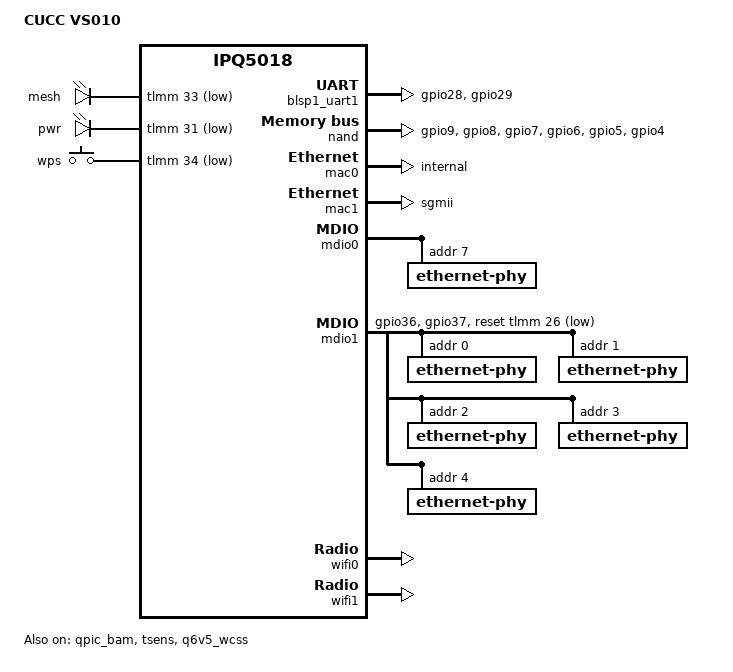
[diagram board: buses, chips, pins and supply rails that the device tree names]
// SPDX-License-Identifier: (GPL-2.0+)
//
// 第 23 次：VS010 源码编译线 DTS —— 按【本仓库实机资料】修正板级参数
//   · 骨架：kkstone/immortalwrt-ipq50xx @ openwrt-21.02 的 ipq5000-rax3000q.dts
//   · GPIO / LED / pinctrl / bootargs / 分区：来自仓库
//     3000Q-VS010-固件/DTS/vs010.dtb（运行态 FDT 反编译，311 节点）
//     与 3000Q-VS010-固件/VS010文件.txt（实机 SSH 日志，GBK）
//   · 无线 BDF：r22 已补 board-cucc_vs010.*，见 reference/无线修复取证.md
//
// 【r23 改了什么 / 为什么】
//   r22 沿用 3000Q 的 GPIO：reset=23 / wps=38 / LED 24,19,17 —— 全是别的板子。
//   实机 FDT 只有【一个】wps 键 GPIO34，两颗 LED：mesh GPIO33 / pwr GPIO31。
//   恩山互刷变砖案例正是「复位键 GPIO 不一致」。这里按实机值改回。
//   bootargs-append 也按实机 /proc/cmdline 补回 "ubi.mtd=rootfs swiotlb=1"。
//
// 【分区：这台机器已刷三方 U-Boot + 大分区 MIBIB】
//   实机日志 cat /proc/mtd：mtd15 rootfs = 0x06e00000 (110 MiB)
//   vs010.dtb 分区表：rootfs @0x00900000 size 0x06e00000 —— 两者完全一致。
//   注意：核查报告第四章的「原厂 24 分区表」(rootfs_1/rootfs 各 0x2840000)
//   是【原厂】布局，不是这台机器的。分区由 U-Boot 经 qcom,smem-part 填充，
//   DTS 里不要写死 24 分区偏移。
//
// 【switch：默认不动，另有可选 OEM 档】
//   实机 switch_cpu_bmp=0x40 / lan=0x1e / wan=0x00、8 对 ar8327-initvals、
//   4 个 port_phyinfo；3000Q 是 0x48/0x34/0x02、4 对、6 个 port。
//   用户实机反馈「网卡什么都能起来」→ 当前 3000Q 档有线可用，改私有寄存器
//   有让网口全灭的风险。故默认保留，另给 tools/apply-vs010-switch-oem.py
//   + workflow 输入 vs010_switch_oem=true 一键切到实机档（需实机核对 WAN/LAN）。
//
/dts-v1/;

#include "ipq5018.dtsi"

/ {
	model = "CUCC VS010";
	compatible = "cucc,vs010", "qcom,ipq5018";

	#address-cells = <2>;
	#size-cells = <2>;
	interrupt-parent = <&intc>;

	aliases {
		serial0 = &blsp1_uart1;

		ethernet0 = &mac0;
		ethernet1 = &mac1;

		// r23：实机只有 mesh(GPIO33) / pwr(GPIO31) 两颗 LED，没有 RGB 三色
		led-boot = &led_pwr;
		led-failsafe = &led_mesh;
		led-running = &led_pwr;
		led-upgrade = &led_mesh;
	};

	chosen {
		// Override the root parameter from u-boot
		// Increase coherent_pool size for WiFi
		bootargs-append = " ubi.mtd=rootfs root=/dev/ubiblock0_1 swiotlb=1 coherent_pool=2M";
		stdout-path = "serial0:115200n8";
	};

	reserved-memory {
		q6_mem_regions: q6_mem_regions@4b000000 {
			no-map;
#ifndef CONFIG_ATH11K_MEM_PROFILE_256M
			reg = <0x0 0x4b000000 0x0 0x3b00000>;
#else
			reg = <0x0 0x4b000000 0x0 0x3000000>;
#endif
		};
	};

	thermal-zones {
		status = "ok";
	};
};

&tmc_etr {
	/delete-property/ memory-region;
};

&tlmm {
	blsp_uart0_pins: blsp_uart0_pins {
		pins =
			"gpio28", // RX
			"gpio29"; // TX
		function = "blsp0_uart1";
		drive-strength = <8>;
		bias-disable;
	};

	qspi_nand_pins: qspi_nand_pins {
		clock {
			pins = "gpio9";
			function = "qspi_clk";
			drive-strength = <8>;
			bias-disable;
		};

		cs {
			pins = "gpio8";
			function = "qspi_cs";
			drive-strength = <8>;
			bias-disable;
		};

		data {
			pins = "gpio7", "gpio6", "gpio5", "gpio4";
			function = "qspi_data";
			drive-strength = <8>;
			bias-disable;
		};
	};

	mdio1_pins: mdio1_pins {
		mdc {
			pins = "gpio36";
			function = "mdc";
			drive-strength = <8>;
			bias-pull-up;
		};

		mdio {
			pins = "gpio37";
			function = "mdio";
			drive-strength = <8>;
			bias-pull-up;
		};
	};

	leds_pins: leds_pins {
		// r23：实机 FDT 的 mesh / pwr 两组，bias-pull-down
		mesh {
			pins = "gpio33";
			function = "gpio";
			drive-strength = <8>;
			bias-pull-down;
		};

		pwr {
			pins = "gpio31";
			function = "gpio";
			drive-strength = <8>;
			bias-pull-down;
		};
	};

	button_pins: button_pins {
		// r23：实机只有 wps 一个键 GPIO34，bias-pull-up
		// （3000Q 的 gpio23/gpio38 在这块板上不存在，勿再用）
		wps_button {
			pins = "gpio34";
			function = "gpio";
			drive-strength = <8>;
			bias-pull-up;
		};
	};
	};
};

&blsp1_uart1 {
	pinctrl-0 = <&blsp_uart0_pins>;
	pinctrl-names = "default";
	status = "ok";
};

&qpic_bam {
	status = "ok";
};

&nand {
	pinctrl-0 = <&qspi_nand_pins>;
	pinctrl-names = "default";
	status = "ok";
};

&tsens {
	status = "ok";
};

&soc {
	leds {
		compatible = "gpio-leds";
		pinctrl-0 = <&leds_pins>;
		pinctrl-names = "default";

		// r23：取自 vs010.dtb 的 led@35 / led@30，gpios flags=1（低有效）
		led_mesh: led_mesh {
			label = "mesh";
			gpios = <&tlmm 33 GPIO_ACTIVE_LOW>;
			linux,default-trigger = "mesh";
			default-state = "off";
		};

		led_pwr: led_pwr {
			label = "pwr";
			gpios = <&tlmm 31 GPIO_ACTIVE_LOW>;
			linux,default-trigger = "pwr";
			default-state = "on";
		};
	};

	button {
		compatible = "gpio-keys";
		pinctrl-0 = <&button_pins>;
		pinctrl-names = "default";

		// r23：实机只有这一个键。linux,code=529(0x211)=KEY_WPS_BUTTON，
		// debounce=60，gpios=<phandle 34 1>。没有独立 reset 键 —— 不要凭空加
		// KEY_RESTART，恩山变砖案例就是多采了一个不存在的复位脚。
		button_wps {
			label = "wps";
			gpios = <&tlmm 34 GPIO_ACTIVE_LOW>;
			linux,input-type = <EV_KEY>;
			linux,code = <KEY_WPS_BUTTON>;
			debounce-interval = <60>;
		};
	};

	ess-instance {
		num_devices = <2>;

		// Dummy switch, to describe how the external ports connects to the MAC
		// For example, some chips have PSGMII ports which combine 5 MAC into
		// 1 external port.
		// For IPQ50xx, this is used to choose SGMII or SGMII-plus
		ess-switch@0x39c00000 {
			compatible = "qcom,ess-switch-ipq50xx";
			device_id = <0>;

			cmnblk_clk = "internal_96MHz";

			// MAC1 Mode
			// switch_mac_mode = <0xc>; // PORT_WRAPPER_SGMII_PLUS
			switch_mac_mode = <0xf>; // PORT_WRAPPER_SGMII_CHANNEL0

			qcom,port_phyinfo {
				// MAC0 -> GE Phy -> QCA8337 Phy2
				port@0 {
					port_id = <1>;

					mdiobus = <&mdio0>;
					phy_address = <7>;

					phy_dac = <0x10 0x10>;
				};

				// MAC1 ---SGMII---> QCA8337 SerDes
				port@1 {
					port_id = <2>;

					forced-speed = <1000>;
					forced-duplex = <1>;
				};
			};
		};

		// QCA8337 —— r23 默认档：3000Q 已验证值（用户实机「网卡都能起来」）
		// 🔴 切到实机 OEM 档：跑 tools/apply-vs010-switch-oem.py
		//    或在 workflow 里把 vs010_switch_oem 设为 true
		// BEGIN_SWITCH_OEM
		ess-switch1@1 {
			compatible = "qcom,ess-switch-qca83xx";
			device_id = <1>;

			reset_gpio = <26>;

			switch_access_mode = "mdio";
			mdio-bus = <&mdio1>;

			qca,ar8327-initvals = <
				0x000c 0x00000080  // PAD6_MODE = MAC6_SGMII_EN
				0x0010 0x002613a0  // PWS_REG = DEFAULT_VALUE | SERDES_AEN
				0x0094 0x000010ce  // PORT6_STATUS = DEFAULT_VALUE | DUPLEX_MODE_6 | RXMAC_EN_6 |
						   //                TXMAC_EN_6 | SPEED_6(1000M)
				0x00e0 0xc74164de  // SGMII_CTRL = DEFAULT_VALUE | MODE_CTRL_25M(SGMII_PHY) | SGMII_EN_SD |
						   //              SGMII_EN_TX | SGMII_EN_RX | SGMII_EN_PLL
			>;

			switch_cpu_bmp = <0x48>;  // CPU port bitmap: 3 6
			switch_lan_bmp = <0x34>;  // LAN port bitmap: 2 4 5
			switch_wan_bmp = <0x02>;  // WAN port bitmap: 1

			qcom,port_phyinfo {
				// MAC1 -> Phy0 -> WAN
				port@1 {
					port_id = <1>;
					phy_address = <0>;
				};

				// MAC2 -> Phy1 -> LAN1
				port@2 {
					port_id = <2>;
					phy_address = <1>;
				};

				// MAC3 -> Phy2 -> IPQ5000 GE Phy
				port@3 {
					port_id = <3>;
					phy_address = <2>;
				};

				// MAC4 -> Phy3 -> LAN2
				port@4 {
					port_id = <4>;
					phy_address = <3>;
				};

				// MAC5 -> Phy4 -> LAN3
				port@5 {
					port_id = <5>;
					phy_address = <4>;
				};

				// MAC6 ---SGMII---> IPQ5000 MAC1
				port@6 {
					port_id = <6>;

					forced-speed = <1000>;
					forced-duplex = <1>;
				};
			};
		};
		// END_SWITCH_OEM
	};

	// MAC0 -> GE Phy
	mac0: dp1 {
		compatible = "qcom,nss-dp";
		device_type = "network";
		qcom,id = <1>;

		reg = <0x39C00000 0x10000>;
		interrupts = <GIC_SPI 101 IRQ_TYPE_LEVEL_HIGH>;
		clocks = <&gcc GCC_SNOC_GMAC0_AXI_CLK>;
		clock-names = "nss-snoc-gmac-axi-clk";

		qcom,mactype = <2>; // GMAC_HAL_TYPE_SYN_GMAC
		local-mac-address = [000000000000];
		mdio-bus = <&mdio0>;
		qcom,phy-mdio-addr = <7>;
		phy-mode = "internal";
		qcom,link-poll = <1>;
	};

	// MAC1 ---SGMII---> QCA8337 SerDes
	mac1: dp2 {
		compatible = "qcom,nss-dp";
		device_type = "network";
		qcom,id = <2>;

		reg = <0x39D00000 0x10000>;
		interrupts = <GIC_SPI 109 IRQ_TYPE_LEVEL_HIGH>;
		clocks = <&gcc GCC_SNOC_GMAC1_AXI_CLK>;
		clock-names = "nss-snoc-gmac-axi-clk";

		qcom,mactype = <2>; // GMAC_HAL_TYPE_SYN_GMAC
		local-mac-address = [000000000000];
		phy-mode = "sgmii";
	};
};

&mdio0 {
	status = "ok";

	// IPQ5018 GE Phy -> QCA8337 Phy2
	ethernet-phy@0 {
		reg = <7>;
	};
};

&mdio1 {
	pinctrl-0 = <&mdio1_pins>;
	pinctrl-names = "default";
	status = "ok";

	reset-gpios = <&tlmm 26 GPIO_ACTIVE_LOW>;

	// QCA8337 Phy0 -> WAN
	ethernet-phy@0 {
		reg = <0>;
	};

	// QCA8337 Phy1 -> LAN1
	ethernet-phy@1 {
		reg = <1>;
	};

	// QCA8337 Phy2 -> IPQ5018 GE Phy
	ethernet-phy@2 {
		reg = <2>;
	};

	// QCA8337 Phy3 -> LAN2
	ethernet-phy@3 {
		reg = <3>;
	};

	// QCA8337 Phy4 -> LAN3
	ethernet-phy@4 {
		reg = <4>;
	};
};

&q6v5_wcss {
	compatible = "qcom,ipq5018-q6-mpd";
	#address-cells = <1>;
	#size-cells = <1>;
	ranges;

	resets =
		<&gcc GCC_WCSSAON_RESET>,
		<&gcc GCC_WCSS_Q6_BCR>;
	reset-names =
		"wcss_aon_reset",
		"wcss_q6_reset";

	clocks =
		<&gcc GCC_Q6_AXIS_CLK>,
		<&gcc GCC_WCSS_ECAHB_CLK>,
		<&gcc GCC_Q6_AXIM_CLK>,
		<&gcc GCC_Q6_AXIM2_CLK>,
		<&gcc GCC_Q6_AHB_CLK>,
		<&gcc GCC_Q6_AHB_S_CLK>,
		<&gcc GCC_WCSS_AXI_S_CLK>;
	clock-names =
		"gcc_q6_axis_clk",
		"gcc_wcss_ecahb_clk",
		"gcc_q6_axim_clk",
		"gcc_q6_axim2_clk",
		"gcc_q6_ahb_clk",
		"gcc_q6_ahb_s_clk",
		"gcc_wcss_axi_s_clk";

	reg =
		<0x0cd00000 0x4040>,
		<0x1938000 0x8>,
		<0x193d204 0x4>;
	reg-names =
		"qdsp6",
		"tcsr-msip",
		"tcsr-q6";

	memory-region = <&q6_mem_regions>;

	qcom,rproc = <&q6v5_wcss>;
	firmware = "IPQ5018/q6_fw.mdt";

	qcom,bootargs_smem = <507>;
	boot-args = </*       type: */ 0x2 /* PCIE1 */
		     /*     length: */ 4
		     /*      PD id: */ 2
		     /* reset GPIO: */ 27
		     /*   reserved: */ 0 0>;

	status = "ok";

	// IPQ5018
	q6_wcss_pd1: remoteproc_pd1@4ab000 {
		compatible = "qcom,ipq5018-wcss-ahb-mpd";

		resets =
			<&gcc GCC_WCSSAON_RESET>,
			<&gcc GCC_WCSS_BCR>,
			<&gcc GCC_CE_BCR>;
		reset-names =
			"wcss_aon_reset",
			"wcss_reset",
			"ce_reset";

		clocks =
			<&gcc GCC_WCSS_AHB_S_CLK>,
			<&gcc GCC_WCSS_ACMT_CLK>,
			<&gcc GCC_WCSS_AXI_M_CLK>;
		clock-names =
			"gcc_wcss_ahb_s_clk",
					"gcc_wcss_acmt_clk",
					"gcc_wcss_axi_m_clk";

		reg = <0x4ab000 0x20>;
		reg-names = "rmb";

		qcom,halt-regs = <&tcsr_q6_block 0xa000 0xd000 0x0>;

		interrupts-extended =
			<&wcss_smp2p_in 8 0>,
			<&wcss_smp2p_in 9 0>,
			<&wcss_smp2p_in 12 0>,
			<&wcss_smp2p_in 11 0>;
		interrupt-names =
			"fatal",
			"ready",
			"spawn-ack",
			"stop-ack";

		qcom,smem-states =
			<&wcss_smp2p_out 8>,
			<&wcss_smp2p_out 9>,
			<&wcss_smp2p_out 10>;
		qcom,smem-state-names =
			"shutdown",
			"stop",
			"spawn";

		firmware = "IPQ5018/q6_fw.mdt";
		m3_firmware = "IPQ5018/m3_fw.mdt";
	};

	// QCN6102
	q6_wcss_pd2: remoteproc_pd2 {
		compatible = "qcom,ipq5018-wcss-pcie-mpd";

		interrupts-extended =
			<&wcss_smp2p_in 16 0>,
			<&wcss_smp2p_in 17 0>,
			<&wcss_smp2p_in 20 0>,
			<&wcss_smp2p_in 19 0>;
		interrupt-names =
			"fatal",
			"ready",
			"spawn-ack",
			"stop-ack";

		qcom,smem-states =
			<&wcss_smp2p_out 16>,
			<&wcss_smp2p_out 17>,
			<&wcss_smp2p_out 18>;
		qcom,smem-state-names =
			"shutdown",
			"stop",
			"spawn";

		firmware = "IPQ5018/q6_fw.mdt";
		m3_firmware = "qcn6122/m3_fw.mdt";
	};
};

&wifi0 {
	// IPQ5000
	qcom,multipd_arch;
	qcom,rproc = <&q6_wcss_pd1>;
	qcom,userpd-subsys-name = "q6v5_wcss_userpd1";

	qcom,board_id = <0x24>;

	qcom,bdf-addr = <0x4c400000 0x4c400000 0x4c400000>;
	qcom,caldb-addr = <0x4d200000 0x4d200000 0>;
#ifndef CONFIG_ATH11K_MEM_PROFILE_256M
	m3-dump-addr = <0x4d400000>;
#else
	m3-dump-addr = <0>;
#endif

	status = "ok";
};

&wifi1 {
	// QCN6102
	qcom,multipd_arch;
	qcom,rproc = <&q6_wcss_pd2>;
	qcom,userpd-subsys-name = "q6v5_wcss_userpd2";

	qcom,board_id = <0x60>;

	qcom,bdf-addr = <0x4d500000 0x4d500000 0x4d100000>;
	qcom,caldb-addr = <0x4e500000 0x4e500000 0>;
#ifndef CONFIG_ATH11K_MEM_PROFILE_256M
	m3-dump-addr = <0x4ea00000>;
#else
	m3-dump-addr = <0x4df00000>;
#endif

	status = "ok";
};
